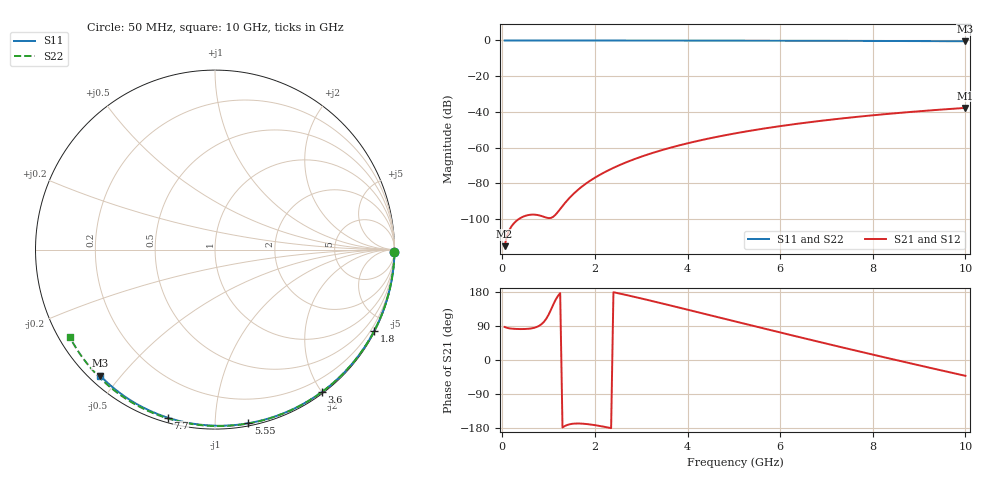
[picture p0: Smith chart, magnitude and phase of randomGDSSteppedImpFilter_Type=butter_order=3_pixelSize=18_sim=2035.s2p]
! freq	dB(S11)	phase(S11)	dB(S12)	phase(S12)
!  dB(S21)	phase(S21)	dB(S22)	phase(S22)
!S-par simulation data
#  GHz  S  DB  R 50
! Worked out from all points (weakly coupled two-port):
!   200 points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, 50 MHz to 10 GHz, reference 50 ohm
!   highest |S21| = -37.80 dB at 10 GHz (marker M1); lowest = -115.3 dB at 50 MHz (marker M2)
!   lowest |S11| = -0.4 dB at 10 GHz (marker M3), VSWR 38.95, Z = 1.54 - j22.1 ohm
!   |S11| at or under -10 dB: nowhere
!   |S22| runs from -0.5 to 0.0 dB; largest |S21 - S12| = 0
!   S11 on the Smith chart (normalised r, x): 50 MHz: open; 1.8 GHz: 0.04, -4.14; 3.6 GHz: 0.02, -2.00; 5.55 GHz: 0.02, -1.21; 7.7 GHz: 0.02, -0.76; 10 GHz: 0.03, -0.44
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0.05  -0.00 -0.8  -115.31 87.2  -115.31 87.2  -0.00 -0.9
0.45  -0.01 -6.9  -98.77 81.7  -98.77 81.7  -0.01 -7.8
0.9  -0.02 -13.7  -98.87 100.8  -98.87 100.8  -0.02 -15.5
1.3  -0.02 -19.7  -92.82 -178.1  -92.82 -178.1  -0.03 -22.3
1.75  -0.03 -26.4  -81.31 -168.2  -81.31 -168.2  -0.04 -29.9
1.8  -0.03 -27.1  -80.35 -168.7  -80.35 -168.7  -0.04 -30.7
1.85  -0.04 -27.9  -79.44 -169.4  -79.44 -169.4  -0.04 -31.5
2  -0.04 -30.1  -76.92 -171.9  -76.92 -171.9  -0.04 -34.0
2.15  -0.04 -32.3  -74.69 -175.1  -74.69 -175.1  -0.05 -36.5
2.5  -0.05 -37.4  -70.23 176.3  -70.23 176.3  -0.05 -42.3
2.9  -0.06 -43.2  -66.07 165.3  -66.07 165.3  -0.06 -48.7
3.4  -0.07 -50.2  -61.81 150.8  -61.81 150.8  -0.08 -56.7
3.6  -0.07 -53.0  -60.32 144.8  -60.32 144.8  -0.08 -59.8
4.3  -0.09 -62.7  -55.85 123.8  -55.85 123.8  -0.10 -70.6
5.05  -0.11 -72.7  -51.97 101.2  -51.97 101.2  -0.13 -81.8
5.55  -0.13 -79.2  -49.78 86.1  -49.78 86.1  -0.15 -89.0
6.1  -0.15 -86.2  -47.65 69.7  -47.65 69.7  -0.17 -96.8
6.7  -0.18 -93.6  -45.60 51.9  -45.60 51.9  -0.20 -105.1
7.7  -0.24 -105.7  -42.71 22.8  -42.71 22.8  -0.27 -118.6
8.35  -0.29 -113.3  -41.10 4.2  -41.10 4.2  -0.32 -127.3
9.2  -0.36 -123.1  -39.28 -19.7  -39.28 -19.7  -0.41 -138.5
10  -0.45 -132.2  -37.80 -41.8  -37.80 -41.8  -0.50 -149.1
